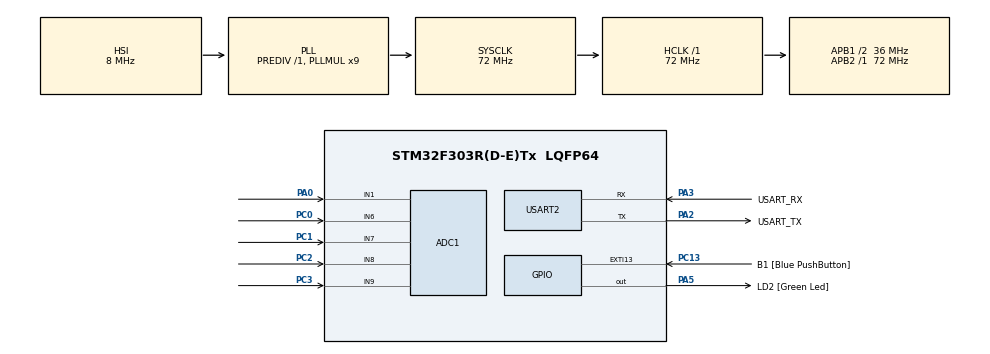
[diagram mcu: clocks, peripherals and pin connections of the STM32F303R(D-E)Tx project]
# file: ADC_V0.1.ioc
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ADC1.Channel-0\#ChannelRegularConversion=ADC_CHANNEL_1
ADC1.Channel-1\#ChannelRegularConversion=ADC_CHANNEL_6
ADC1.Channel-2\#ChannelRegularConversion=ADC_CHANNEL_7
ADC1.Channel-3\#ChannelRegularConversion=ADC_CHANNEL_8
ADC1.Channel-4\#ChannelRegularConversion=ADC_CHANNEL_9
ADC1.ClockPrescaler=ADC_CLOCK_SYNC_PCLK_DIV1
ADC1.ContinuousConvMode=ENABLE
ADC1.NbrOfConversion=5
ADC1.NbrOfConversionFlag=1
ADC1.Offset-0\#ChannelRegularConversion=0
ADC1.Offset-1\#ChannelRegularConversion=0
ADC1.Offset-2\#ChannelRegularConversion=0
ADC1.Offset-3\#ChannelRegularConversion=0
ADC1.Offset-4\#ChannelRegularConversion=0
ADC1.OffsetNumber-0\#ChannelRegularConversion=ADC_OFFSET_NONE
ADC1.OffsetNumber-1\#ChannelRegularConversion=ADC_OFFSET_NONE
ADC1.OffsetNumber-2\#ChannelRegularConversion=ADC_OFFSET_NONE
ADC1.OffsetNumber-3\#ChannelRegularConversion=ADC_OFFSET_NONE
ADC1.OffsetNumber-4\#ChannelRegularConversion=ADC_OFFSET_NONE
ADC1.Rank-0\#ChannelRegularConversion=1
ADC1.Rank-1\#ChannelRegularConversion=2
ADC1.Rank-2\#ChannelRegularConversion=3
ADC1.Rank-3\#ChannelRegularConversion=4
ADC1.Rank-4\#ChannelRegularConversion=5
ADC1.SamplingTime-0\#ChannelRegularConversion=ADC_SAMPLETIME_1CYCLE_5
ADC1.SamplingTime-1\#ChannelRegularConversion=ADC_SAMPLETIME_1CYCLE_5
ADC1.SamplingTime-2\#ChannelRegularConversion=ADC_SAMPLETIME_1CYCLE_5
ADC1.SamplingTime-3\#ChannelRegularConversion=ADC_SAMPLETIME_1CYCLE_5
ADC1.SamplingTime-4\#ChannelRegularConversion=ADC_SAMPLETIME_1CYCLE_5
ADC1.SamplingTimeOPAMP-1\#ChannelRegularConversion=ADC_SAMPLETIME_61CYCLES_5
ADC1.SamplingTimeOPAMP-2\#ChannelRegularConversion=ADC_SAMPLETIME_61CYCLES_5
ADC1.SamplingTimeOPAMP-3\#ChannelRegularConversion=ADC_SAMPLETIME_61CYCLES_5
ADC1.SamplingTimeOPAMP-4\#ChannelRegularConversion=ADC_SAMPLETIME_61CYCLES_5
ADC1.master=1
Mcu.Family=STM32F3
Mcu.Name=STM32F303R(D-E)Tx
Mcu.Package=LQFP64
NVIC.PriorityGroup=NVIC_PRIORITYGROUP_0
PA0.Mode=IN1-Single-Ended
PA0.Signal=ADC1_IN1
PA13.GPIO_Label=TMS
PA13.Mode=Serial_Wire
PA13.Signal=SYS_JTMS-SWDIO
PA14.GPIO_Label=TCK
PA14.Mode=Serial_Wire
PA14.Signal=SYS_JTCK-SWCLK
PA2.GPIO_Label=USART_TX
PA2.GPIO_Mode=GPIO_MODE_AF_PP
PA2.GPIO_PuPd=GPIO_NOPULL
PA2.GPIO_Speed=GPIO_SPEED_FREQ_LOW
PA2.Mode=Asynchronous
PA2.Signal=USART2_TX
PA3.GPIO_Label=USART_RX
PA3.GPIO_Mode=GPIO_MODE_AF_PP
PA3.GPIO_PuPd=GPIO_NOPULL
PA3.GPIO_Speed=GPIO_SPEED_FREQ_LOW
PA3.Mode=Asynchronous
PA3.Signal=USART2_RX
PA5.GPIO_Label=LD2 [Green Led]
PA5.GPIO_Mode=GPIO_MODE_OUTPUT_PP
PA5.GPIO_PuPd=GPIO_NOPULL
PA5.GPIO_Speed=GPIO_SPEED_FREQ_LOW
PA5.Signal=GPIO_Output
PB3.GPIO_Label=SWO
PB3.Signal=SYS_JTDO-TRACESWO
PC0.Signal=ADCx_IN6
PC1.Signal=ADCx_IN7
PC13.GPIO_Label=B1 [Blue PushButton]
PC13.GPIO_ModeDefaultEXTI=GPIO_MODE_IT_FALLING
PC13.Signal=GPXTI13
PC14-OSC32_IN.Mode=LSE-External-Oscillator
PC14-OSC32_IN.Signal=RCC_OSC32_IN
PC15-OSC32_OUT.Mode=LSE-External-Oscillator
PC15-OSC32_OUT.Signal=RCC_OSC32_OUT
PC2.Signal=ADCx_IN8
PC3.Signal=ADCx_IN9
PF0-OSC_IN.Mode=HSE-External-Clock-Source
PF0-OSC_IN.Signal=RCC_OSC_IN
PF1-OSC_OUT.Signal=RCC_OSC_OUT
ProjectManager.HeapSize=0x200
ProjectManager.StackSize=0x400
ProjectManager.TargetToolchain=STM32CubeIDE
RCC.AHBFreq_Value=72000000
RCC.APB1CLKDivider=RCC_HCLK_DIV2
RCC.APB1Freq_Value=36000000
RCC.APB1TimFreq_Value=72000000
RCC.APB2Freq_Value=72000000
RCC.APB2TimFreq_Value=72000000
RCC.CortexFreq_Value=72000000
RCC.HCLKFreq_Value=72000000
RCC.HSE_VALUE=8000000
RCC.HSI_VALUE=8000000
RCC.PLLM=8
RCC.PLLMUL=RCC_PLL_MUL9
RCC.PLLN=336
RCC.PLLP=RCC_PLLP_DIV4
RCC.PLLQ=7
RCC.RCC_PLLsource_Clock_Source_FROM_HSE=RCC_HSE_PREDIV_DIV2
RCC.SYSCLKFreq_VALUE=72000000
RCC.SYSCLKSourceVirtual=RCC_SYSCLKSOURCE_PLLCLK
RCC.USBFreq_Value=72000000
SH.ADCx_IN6.0=ADC1_IN6,IN6-Single-Ended
SH.ADCx_IN7.0=ADC1_IN7,IN7-Single-Ended
SH.ADCx_IN8.0=ADC1_IN8,IN8-Single-Ended
SH.ADCx_IN9.0=ADC1_IN9,IN9-Single-Ended
USART2.VirtualMode-Asynchronous=VM_ASYNC
board=NUCLEO-F303RE

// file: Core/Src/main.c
/* USER CODE BEGIN Header */
/**
  ******************************************************************************
  * @file           : main.c
  * @brief          : Main program body
  ******************************************************************************
  * @attention
  *
  * Copyright (c) 2024 STMicroelectronics.
  * All rights reserved.
  *
  * This software is licensed under terms that can be found in the LICENSE file
  * in the root directory of this software component.
  * If no LICENSE file comes with this software, it is provided AS-IS.
  *
  ******************************************************************************
  */
/* USER CODE END Header */
#include "main.h"

/* USER CODE BEGIN Includes */
#include <stdio.h>
#include <string.h>
/* USER CODE END Includes */

/* USER CODE BEGIN PD */
#define ADC_CHANNEL_COUNT 5
/* USER CODE END PD */

ADC_HandleTypeDef hadc1;
DMA_HandleTypeDef hdma_adc1;

UART_HandleTypeDef huart2;

/* USER CODE BEGIN PV */
uint16_t adc_values[ADC_CHANNEL_COUNT];
uint16_t voltages[ADC_CHANNEL_COUNT];
uint16_t i = 0;
char uart_buffer[50];
/* USER CODE END PV */

void SystemClock_Config(void);
static void MX_GPIO_Init(void);
static void MX_DMA_Init(void);
static void MX_USART2_UART_Init(void);
static void MX_ADC1_Init(void);
/* USER CODE BEGIN PFP */
void send_adc_data_over_uart(uint16_t voltages0, uint16_t voltages1, uint16_t voltages2, uint16_t voltages3, uint16_t voltages4);
/* USER CODE END PFP */

int main(void)
{

  /* MCU Configuration--------------------------------------------------------*/

  /* Reset of all peripherals, Initializes the Flash interface and the Systick. */
  HAL_Init();

  /* Configure the system clock */
  SystemClock_Config();

  /* Initialize all configured peripherals */
  MX_GPIO_Init();
  MX_DMA_Init();
  MX_USART2_UART_Init();
  MX_ADC1_Init();
  /* USER CODE BEGIN 2 */
//  HAL_ADC_Start_DMA(&hadc1, adc_values, ADC_CHANNEL_COUNT);
  /* USER CODE END 2 */

  /* Infinite loop */
  while (1)
  {

    /* USER CODE BEGIN 3 */
	  for(i=0; i<5; i++)
	     {
	         HAL_ADC_Start(&hadc1); // Start ADC Conversion
	         HAL_ADC_PollForConversion(&hadc1, HAL_MAX_DELAY); // Poll ADC1 Peripheral & TimeOut = 1mSec
	         adc_values[i] = HAL_ADC_GetValue(&hadc1); // Read ADC Conversion Resulte
	         voltages[i] = adc_values[i]; // Map The ADC_RES To PWM DutyCycle
	      }
	  voltages[4] = voltages[4]-600;
	  send_adc_data_over_uart(voltages[0], voltages[1], voltages[2], voltages[3],voltages[4]);
	  HAL_Delay(100);
 	 }
  /* USER CODE END 3 */
}

void SystemClock_Config(void)
{
  RCC_OscInitTypeDef RCC_OscInitStruct = {0};
  RCC_ClkInitTypeDef RCC_ClkInitStruct = {0};
  RCC_PeriphCLKInitTypeDef PeriphClkInit = {0};

  /** Initializes the RCC Oscillators according to the specified parameters
  * in the RCC_OscInitTypeDef structure.
  */
  RCC_OscInitStruct.OscillatorType = RCC_OSCILLATORTYPE_HSI;
  RCC_OscInitStruct.HSIState = RCC_HSI_ON;
  RCC_OscInitStruct.HSICalibrationValue = RCC_HSICALIBRATION_DEFAULT;
  RCC_OscInitStruct.PLL.PLLState = RCC_PLL_ON;
  RCC_OscInitStruct.PLL.PLLSource = RCC_PLLSOURCE_HSI;
  RCC_OscInitStruct.PLL.PLLMUL = RCC_PLL_MUL9;
  RCC_OscInitStruct.PLL.PREDIV = RCC_PREDIV_DIV1;
  if (HAL_RCC_OscConfig(&RCC_OscInitStruct) != HAL_OK)
  {
    Error_Handler();
  }

  /** Initializes the CPU, AHB and APB buses clocks
  */
  RCC_ClkInitStruct.ClockType = RCC_CLOCKTYPE_HCLK|RCC_CLOCKTYPE_SYSCLK
                              |RCC_CLOCKTYPE_PCLK1|RCC_CLOCKTYPE_PCLK2;
  RCC_ClkInitStruct.SYSCLKSource = RCC_SYSCLKSOURCE_PLLCLK;
  RCC_ClkInitStruct.AHBCLKDivider = RCC_SYSCLK_DIV1;
  RCC_ClkInitStruct.APB1CLKDivider = RCC_HCLK_DIV2;
  RCC_ClkInitStruct.APB2CLKDivider = RCC_HCLK_DIV1;

  if (HAL_RCC_ClockConfig(&RCC_ClkInitStruct, FLASH_LATENCY_2) != HAL_OK)
  {
    Error_Handler();
  }
  PeriphClkInit.PeriphClockSelection = RCC_PERIPHCLK_USART2;
  PeriphClkInit.Usart2ClockSelection = RCC_USART2CLKSOURCE_PCLK1;
  if (HAL_RCCEx_PeriphCLKConfig(&PeriphClkInit) != HAL_OK)
  {
    Error_Handler();
  }
}

static void MX_ADC1_Init(void)
{

  ADC_MultiModeTypeDef multimode = {0};
  ADC_ChannelConfTypeDef sConfig = {0};

  /** Common config
  */
  hadc1.Instance = ADC1;
  hadc1.Init.ClockPrescaler = ADC_CLOCK_SYNC_PCLK_DIV1;
  hadc1.Init.Resolution = ADC_RESOLUTION_12B;
  hadc1.Init.ScanConvMode = ADC_SCAN_ENABLE;
  hadc1.Init.ContinuousConvMode = DISABLE;
  hadc1.Init.DiscontinuousConvMode = ENABLE;
  hadc1.Init.NbrOfDiscConversion = 1;
  hadc1.Init.ExternalTrigConvEdge = ADC_EXTERNALTRIGCONVEDGE_NONE;
  hadc1.Init.ExternalTrigConv = ADC_SOFTWARE_START;
  hadc1.Init.DataAlign = ADC_DATAALIGN_RIGHT;
  hadc1.Init.NbrOfConversion = 5;
  hadc1.Init.DMAContinuousRequests = ENABLE;
  hadc1.Init.EOCSelection = ADC_EOC_SINGLE_CONV;
  hadc1.Init.LowPowerAutoWait = DISABLE;
  hadc1.Init.Overrun = ADC_OVR_DATA_OVERWRITTEN;
  if (HAL_ADC_Init(&hadc1) != HAL_OK)
  {
    Error_Handler();
  }

  /** Configure the ADC multi-mode
  */
  multimode.Mode = ADC_MODE_INDEPENDENT;
  if (HAL_ADCEx_MultiModeConfigChannel(&hadc1, &multimode) != HAL_OK)
  {
    Error_Handler();
  }

  /** Configure Regular Channel
  */
  sConfig.Channel = ADC_CHANNEL_1;
  sConfig.Rank = ADC_REGULAR_RANK_1;
  sConfig.SingleDiff = ADC_SINGLE_ENDED;
  sConfig.SamplingTime = ADC_SAMPLETIME_1CYCLE_5;
  sConfig.OffsetNumber = ADC_OFFSET_NONE;
  sConfig.Offset = 0;
  if (HAL_ADC_ConfigChannel(&hadc1, &sConfig) != HAL_OK)
  {
    Error_Handler();
  }

  /** Configure Regular Channel
  */
  sConfig.Channel = ADC_CHANNEL_6;
  sConfig.Rank = ADC_REGULAR_RANK_2;
  if (HAL_ADC_ConfigChannel(&hadc1, &sConfig) != HAL_OK)
  {
    Error_Handler();
  }

  /** Configure Regular Channel
  */
  sConfig.Channel = ADC_CHANNEL_7;
  sConfig.Rank = ADC_REGULAR_RANK_3;
  if (HAL_ADC_ConfigChannel(&hadc1, &sConfig) != HAL_OK)
  {
    Error_Handler();
  }

  /** Configure Regular Channel
  */
  sConfig.Channel = ADC_CHANNEL_8;
  sConfig.Rank = ADC_REGULAR_RANK_4;
  if (HAL_ADC_ConfigChannel(&hadc1, &sConfig) != HAL_OK)
  {
    Error_Handler();
  }

  /** Configure Regular Channel
  */
  sConfig.Channel = ADC_CHANNEL_9;
  sConfig.Rank = ADC_REGULAR_RANK_5;
  if (HAL_ADC_ConfigChannel(&hadc1, &sConfig) != HAL_OK)
  {
    Error_Handler();
  }

}

static void MX_USART2_UART_Init(void)
{

  huart2.Instance = USART2;
  huart2.Init.BaudRate = 115200;
  huart2.Init.WordLength = UART_WORDLENGTH_8B;
  huart2.Init.StopBits = UART_STOPBITS_1;
  huart2.Init.Parity = UART_PARITY_NONE;
  huart2.Init.Mode = UART_MODE_TX_RX;
  huart2.Init.HwFlowCtl = UART_HWCONTROL_NONE;
  huart2.Init.OverSampling = UART_OVERSAMPLING_16;
  huart2.Init.OneBitSampling = UART_ONE_BIT_SAMPLE_DISABLE;
  huart2.AdvancedInit.AdvFeatureInit = UART_ADVFEATURE_NO_INIT;
  if (HAL_UART_Init(&huart2) != HAL_OK)
  {
    Error_Handler();
  }

}

static void MX_DMA_Init(void)
{

  /* DMA controller clock enable */
  __HAL_RCC_DMA1_CLK_ENABLE();

  /* DMA interrupt init */
  /* DMA1_Channel1_IRQn interrupt configuration */
  HAL_NVIC_SetPriority(DMA1_Channel1_IRQn, 0, 0);
  HAL_NVIC_EnableIRQ(DMA1_Channel1_IRQn);

}

static void MX_GPIO_Init(void)
{
  GPIO_InitTypeDef GPIO_InitStruct = {0};

  /* GPIO Ports Clock Enable */
  __HAL_RCC_GPIOC_CLK_ENABLE();
  __HAL_RCC_GPIOF_CLK_ENABLE();
  __HAL_RCC_GPIOA_CLK_ENABLE();
  __HAL_RCC_GPIOB_CLK_ENABLE();

  /*Configure GPIO pin Output Level */
  HAL_GPIO_WritePin(LD2_GPIO_Port, LD2_Pin, GPIO_PIN_RESET);

  /*Configure GPIO pin : B1_Pin */
  GPIO_InitStruct.Pin = B1_Pin;
  GPIO_InitStruct.Mode = GPIO_MODE_IT_FALLING;
  GPIO_InitStruct.Pull = GPIO_NOPULL;
  HAL_GPIO_Init(B1_GPIO_Port, &GPIO_InitStruct);

  /*Configure GPIO pin : LD2_Pin */
  GPIO_InitStruct.Pin = LD2_Pin;
  GPIO_InitStruct.Mode = GPIO_MODE_OUTPUT_PP;
  GPIO_InitStruct.Pull = GPIO_NOPULL;
  GPIO_InitStruct.Speed = GPIO_SPEED_FREQ_LOW;
  HAL_GPIO_Init(LD2_GPIO_Port, &GPIO_InitStruct);

}

/* USER CODE BEGIN 4 */
void send_adc_data_over_uart(uint16_t voltages0, uint16_t voltages1, uint16_t voltages2, uint16_t voltages3, uint16_t voltages4) {

        int len = snprintf(uart_buffer, sizeof(uart_buffer), "/* %d; %d; %d; %d; %d */\r\n", voltages0, voltages1, voltages2, voltages3, voltages4);

        HAL_UART_Transmit(&huart2, (uint8_t*)uart_buffer, len, HAL_MAX_DELAY);
}
/* USER CODE END 4 */

void Error_Handler(void)
{
  __disable_irq();
  while (1)
  {
  }
}
